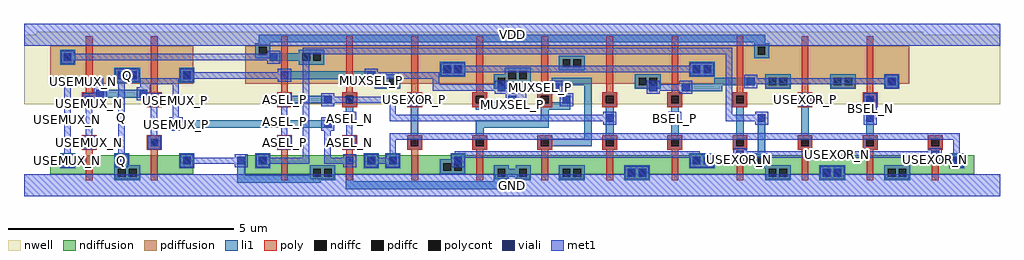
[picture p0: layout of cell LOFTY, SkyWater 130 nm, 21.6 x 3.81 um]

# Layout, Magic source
magic
# Generated by librecell
tech sky130A
<< nwell >>
rect 0 179 2160 333
rect 27 333 1990 340
<< viali >>
rect 1336 19 1353 36
rect 1360 19 1377 36
rect 1768 19 1785 36
rect 1792 19 1809 36
rect 88 46 105 63
rect 208 46 225 63
rect 352 46 369 63
rect 472 46 489 63
rect 520 46 537 63
rect 712 46 729 63
rect 760 46 777 63
rect 808 46 825 63
rect 952 46 969 63
rect 1480 46 1497 63
rect 1504 46 1521 63
rect 2056 46 2073 63
rect 1576 59 1593 76
rect 2008 59 2025 76
rect 136 86 153 103
rect 280 86 297 103
rect 568 86 585 103
rect 712 86 729 103
rect 328 127 345 144
rect 664 127 681 144
rect 712 140 729 157
rect 1288 140 1305 157
rect 1432 140 1449 157
rect 1624 140 1641 157
rect 1864 140 1881 157
rect 136 181 153 198
rect 280 181 297 198
rect 568 181 585 198
rect 664 181 681 198
rect 856 181 873 198
rect 1072 181 1089 198
rect 1192 181 1209 198
rect 1720 181 1737 198
rect 1864 181 1881 198
rect 160 194 177 211
rect 256 194 273 211
rect 1048 208 1065 225
rect 1168 208 1185 225
rect 1384 208 1401 225
rect 1456 208 1473 225
rect 1600 221 1617 238
rect 1912 221 1929 238
rect 208 235 225 252
rect 232 235 249 252
rect 352 235 369 252
rect 568 235 585 252
rect 760 235 777 252
rect 928 248 945 265
rect 952 248 969 265
rect 1480 248 1497 265
rect 1504 248 1521 265
rect 88 275 105 292
rect 544 275 561 292
<< poly >>
rect 137 11 152 78
rect 128 78 161 111
rect 281 11 296 78
rect 272 78 305 111
rect 569 11 584 78
rect 560 78 593 111
rect 713 11 728 78
rect 704 78 737 111
rect 857 11 872 78
rect 848 78 881 111
rect 1001 11 1016 78
rect 992 78 1025 111
rect 1145 11 1160 78
rect 1136 78 1169 111
rect 1289 11 1304 78
rect 1280 78 1313 111
rect 1433 11 1448 78
rect 1424 78 1457 111
rect 1577 11 1592 78
rect 1568 78 1601 111
rect 1721 11 1736 78
rect 1712 78 1745 111
rect 1865 11 1880 78
rect 1856 78 1889 111
rect 2009 11 2024 78
rect 2000 78 2033 111
rect 128 173 161 206
rect 137 206 152 330
rect 272 173 305 206
rect 281 206 296 330
rect 560 173 593 206
rect 569 206 584 330
rect 704 173 737 206
rect 713 206 728 330
rect 848 173 881 206
rect 857 206 872 330
rect 992 173 1025 206
rect 1001 206 1016 330
rect 1136 173 1169 206
rect 1145 206 1160 330
rect 1280 173 1313 206
rect 1289 206 1304 330
rect 1424 173 1457 206
rect 1433 206 1448 330
rect 1568 173 1601 206
rect 1577 206 1592 330
rect 1712 173 1745 206
rect 1721 206 1736 330
rect 1856 173 1889 206
rect 1865 206 1880 330
<< properties >>
string FIXED_BBOX 0 0 2160 333
<< li1 >>
rect 1184 11 1241 44
rect 1328 11 1385 44
rect 1760 11 1817 44
rect 1904 11 1961 44
rect 472 5 657 11
rect 472 11 689 22
rect 632 22 689 44
rect 472 22 489 63
rect 712 -9 1065 9
rect 1040 9 1065 11
rect 1040 11 1073 19
rect 1088 11 1121 19
rect 1040 19 1121 36
rect 1040 36 1073 44
rect 1088 36 1121 44
rect 712 9 729 63
rect 80 38 113 71
rect 200 11 257 44
rect 200 44 233 71
rect 344 38 377 71
rect 512 38 545 71
rect 752 38 785 71
rect 800 38 833 71
rect 920 24 977 57
rect 944 57 977 71
rect 1472 38 1529 71
rect 2048 38 2081 71
rect 128 78 161 111
rect 272 78 305 111
rect 560 78 593 111
rect 704 78 737 111
rect 2008 59 2025 78
rect 2000 78 2033 111
rect 328 127 681 144
rect 1640 11 1697 38
rect 1616 38 1697 44
rect 1616 44 1649 71
rect 1624 71 1641 157
rect 1856 78 1889 111
rect 1864 111 1881 157
rect 560 173 593 181
rect 560 181 681 198
rect 560 198 593 206
rect 712 140 729 173
rect 704 173 737 206
rect 848 78 881 111
rect 856 111 873 173
rect 848 173 881 206
rect 1000 167 1089 173
rect 992 173 1089 184
rect 1072 184 1089 198
rect 992 184 1025 206
rect 992 78 1025 111
rect 1000 111 1017 127
rect 1000 127 1161 144
rect 1144 144 1161 167
rect 1144 167 1209 173
rect 1136 173 1209 184
rect 1192 184 1209 198
rect 1136 184 1169 206
rect 1280 78 1313 111
rect 1288 111 1305 173
rect 1280 173 1313 206
rect 1424 78 1457 111
rect 1432 111 1449 173
rect 1424 173 1457 206
rect 1576 59 1593 78
rect 1568 78 1601 111
rect 1576 111 1593 173
rect 1568 173 1601 206
rect 1712 78 1745 111
rect 1720 111 1737 173
rect 1712 173 1745 206
rect 1856 173 1889 206
rect 128 173 161 194
rect 272 173 305 194
rect 128 194 305 206
rect 160 206 273 211
rect 1136 78 1169 86
rect 1136 86 1257 103
rect 1136 103 1169 111
rect 1168 208 1185 221
rect 1240 103 1257 221
rect 1168 221 1257 238
rect 1456 208 1545 221
rect 1456 221 1617 225
rect 1528 225 1617 238
rect 1384 208 1401 213
rect 1352 213 1409 246
rect 1640 213 1697 246
rect 1784 213 1841 246
rect 1904 213 1937 246
rect 776 213 833 235
rect 568 235 833 246
rect 568 246 777 252
rect 200 227 257 260
rect 344 227 377 260
rect 1048 208 1065 213
rect 1040 213 1073 227
rect 1040 227 1121 246
rect 1064 246 1121 260
rect 920 240 977 273
rect 1472 240 1529 273
rect 1184 254 1241 287
rect 80 267 113 300
rect 608 267 665 275
rect 544 275 665 281
rect 512 281 665 292
rect 608 292 665 300
rect 512 292 545 314
rect 1616 281 1649 314
rect 520 314 545 316
rect 1616 314 1641 316
rect 520 316 1641 333
<< met1 >>
rect 0 -24 2160 24
rect 1330 24 1383 42
rect 1762 24 1815 42
rect 346 40 375 47
rect 466 40 495 47
rect 346 47 495 61
rect 346 61 375 69
rect 466 61 495 69
rect 946 40 975 61
rect 1474 40 1527 61
rect 946 61 1527 69
rect 953 69 1495 75
rect 1570 53 1599 61
rect 2002 53 2031 61
rect 1570 61 2031 75
rect 1570 75 1599 82
rect 2002 75 2031 82
rect 754 40 783 47
rect 802 40 831 47
rect 754 47 831 61
rect 754 61 783 69
rect 802 61 831 69
rect 2050 40 2079 69
rect 809 69 823 101
rect 2057 69 2071 101
rect 809 101 2071 115
rect 706 40 735 47
rect 665 47 735 61
rect 706 61 735 69
rect 665 61 679 121
rect 658 121 687 150
rect 706 80 735 109
rect 713 109 727 134
rect 706 134 735 163
rect 1426 134 1455 163
rect 562 80 591 109
rect 569 109 583 175
rect 562 175 591 204
rect 1282 134 1311 142
rect 809 142 1311 156
rect 1282 156 1311 163
rect 658 175 687 182
rect 809 156 823 182
rect 658 182 823 196
rect 658 196 687 204
rect 850 175 879 204
rect 1714 175 1743 204
rect 1858 134 1887 204
rect 1378 202 1407 209
rect 1450 202 1479 209
rect 1378 209 1479 223
rect 1378 223 1407 231
rect 1450 223 1479 231
rect 82 40 111 69
rect 130 80 159 109
rect 137 109 151 175
rect 130 175 159 188
rect 130 188 183 204
rect 154 204 183 217
rect 89 69 103 223
rect 154 217 175 223
rect 89 223 175 237
rect 274 80 303 109
rect 322 121 351 150
rect 281 109 295 175
rect 274 175 303 188
rect 250 188 303 204
rect 250 204 279 217
rect 257 217 279 223
rect 329 150 343 223
rect 257 223 343 237
rect 1594 215 1623 223
rect 1906 215 1935 223
rect 1594 223 1935 237
rect 1594 237 1623 244
rect 1906 237 1935 244
rect 202 40 231 69
rect 209 69 223 229
rect 202 229 255 258
rect 346 229 375 236
rect 562 229 591 236
rect 346 236 591 250
rect 346 250 375 258
rect 562 250 591 258
rect 1066 175 1095 182
rect 1066 182 1111 202
rect 1186 175 1215 202
rect 1162 202 1215 204
rect 1042 202 1111 204
rect 1042 204 1071 209
rect 1097 204 1111 209
rect 1162 204 1191 209
rect 1097 209 1191 223
rect 905 209 1071 223
rect 1042 223 1071 231
rect 1162 223 1191 231
rect 754 229 783 236
rect 905 223 919 236
rect 754 236 919 250
rect 754 250 783 258
rect 922 242 975 250
rect 1474 242 1527 250
rect 922 250 1527 264
rect 922 264 975 271
rect 1474 264 1527 271
rect 82 269 111 277
rect 538 269 567 277
rect 82 277 567 291
rect 82 291 111 298
rect 538 291 567 298
rect 514 40 543 47
rect 514 47 631 61
rect 514 61 543 69
rect 1618 134 1647 142
rect 1553 142 1647 156
rect 1618 156 1647 163
rect 617 61 631 290
rect 1553 156 1567 290
rect 617 290 1567 304
rect 0 309 2160 357
<< li1 >>
<< met1 >>
<< li1 >>
<< met1 >>
rect 0 -24 2160 24
rect 1570 53 1599 61
rect 2002 53 2031 61
rect 1570 61 2031 75
rect 1570 75 1599 82
rect 2002 75 2031 82
rect 706 80 735 109
rect 713 109 727 134
rect 706 134 735 163
rect 1426 134 1455 163
rect 562 80 591 109
rect 569 109 583 175
rect 562 175 591 204
rect 1714 175 1743 204
rect 1858 134 1887 204
rect 82 40 111 69
rect 130 80 159 109
rect 137 109 151 175
rect 130 175 159 188
rect 130 188 183 204
rect 154 204 183 217
rect 89 69 103 223
rect 154 217 175 223
rect 89 223 175 237
rect 274 80 303 109
rect 322 121 351 150
rect 281 109 295 175
rect 274 175 303 188
rect 250 188 303 204
rect 250 204 279 217
rect 257 217 279 223
rect 329 150 343 223
rect 257 223 343 237
rect 202 40 231 69
rect 209 69 223 229
rect 202 229 255 258
rect 1066 175 1095 182
rect 1066 182 1111 202
rect 1186 175 1215 202
rect 1162 202 1215 204
rect 1042 202 1111 204
rect 1042 204 1071 209
rect 1097 204 1111 209
rect 1162 204 1191 209
rect 1097 209 1191 223
rect 905 209 1071 223
rect 1042 223 1071 231
rect 1162 223 1191 231
rect 754 229 783 236
rect 905 223 919 236
rect 754 236 919 250
rect 754 250 783 258
rect 0 309 2160 357
<< ndiffusion >>
rect 202 13 255 24
rect 58 24 375 66
rect 82 66 111 69
rect 202 66 231 69
rect 346 66 375 69
rect 634 13 687 24
rect 1042 13 1071 24
rect 1090 13 1119 24
rect 1186 13 1239 24
rect 1330 13 1383 24
rect 1642 13 1695 24
rect 1762 13 1815 24
rect 1906 13 1959 24
rect 490 24 2103 66
rect 514 66 543 69
rect 754 66 783 69
rect 802 66 831 69
rect 946 66 975 69
rect 1474 66 1527 69
rect 1618 66 1647 69
rect 2050 66 2079 69
<< pdiffusion >>
rect 58 225 375 309
rect 778 215 831 225
rect 1042 215 1071 225
rect 1354 215 1407 225
rect 1642 215 1695 225
rect 1786 215 1839 225
rect 1906 215 1935 225
rect 490 225 1959 309
rect 514 309 543 312
rect 1618 309 1647 312
<< polycont >>
rect 136 86 153 103
rect 280 86 297 103
rect 568 86 585 103
rect 712 86 729 103
rect 856 86 873 103
rect 1000 86 1017 103
rect 1144 86 1161 103
rect 1288 86 1305 103
rect 1432 86 1449 103
rect 1576 86 1593 103
rect 1720 86 1737 103
rect 1864 86 1881 103
rect 2008 86 2025 103
rect 136 181 153 198
rect 280 181 297 198
rect 568 181 585 198
rect 712 181 729 198
rect 856 181 873 198
rect 1000 181 1017 198
rect 1144 181 1161 198
rect 1288 181 1305 198
rect 1432 181 1449 198
rect 1576 181 1593 198
rect 1720 181 1737 198
rect 1864 181 1881 198
<< pdiffc >>
rect 784 221 801 238
rect 808 221 825 238
rect 1048 221 1065 238
rect 1360 221 1377 238
rect 1384 221 1401 238
rect 1648 221 1665 238
rect 1672 221 1689 238
rect 1792 221 1809 238
rect 1816 221 1833 238
rect 1912 221 1929 238
rect 208 235 225 252
rect 232 235 249 252
rect 352 235 369 252
rect 1072 235 1089 252
rect 1096 235 1113 252
rect 928 248 945 265
rect 952 248 969 265
rect 1480 248 1497 265
rect 1504 248 1521 265
rect 1192 262 1209 279
rect 1216 262 1233 279
rect 88 275 105 292
rect 616 275 633 292
rect 640 275 657 292
rect 520 289 537 306
rect 1624 289 1641 306
<< ndiffc >>
rect 208 19 225 36
rect 232 19 249 36
rect 640 19 657 36
rect 664 19 681 36
rect 1048 19 1065 36
rect 1096 19 1113 36
rect 1192 19 1209 36
rect 1216 19 1233 36
rect 1336 19 1353 36
rect 1360 19 1377 36
rect 1648 19 1665 36
rect 1672 19 1689 36
rect 1768 19 1785 36
rect 1792 19 1809 36
rect 1912 19 1929 36
rect 1936 19 1953 36
rect 928 32 945 49
rect 88 46 105 63
rect 208 46 225 63
rect 352 46 369 63
rect 520 46 537 63
rect 760 46 777 63
rect 808 46 825 63
rect 952 32 969 63
rect 1480 46 1497 63
rect 1504 46 1521 63
rect 1624 46 1641 63
rect 2056 46 2073 63
<< nplus >>
<< pplus >>
<< labels >>
rlabel met1 0 309 2160 357 0 VDD
port 1 se
rlabel met1 0 -24 2160 24 0 GND
port 2 se
rlabel met1 202 40 231 69 0 Q
port 3 se
rlabel met1 209 69 223 229 0 Q
port 4 se
rlabel met1 202 229 255 258 0 Q
port 5 se
rlabel met1 562 80 591 109 0 ASEL_P
port 6 se
rlabel met1 569 109 583 175 0 ASEL_P
port 7 se
rlabel met1 562 175 591 204 0 ASEL_P
port 8 se
rlabel met1 1570 53 1599 61 0 USEXOR_N
port 9 se
rlabel met1 2002 53 2031 61 0 USEXOR_N
port 10 se
rlabel met1 1570 61 2031 75 0 USEXOR_N
port 11 se
rlabel met1 1570 75 1599 82 0 USEXOR_N
port 12 se
rlabel met1 2002 75 2031 82 0 USEXOR_N
port 13 se
rlabel met1 82 40 111 69 0 USEMUX_N
port 14 se
rlabel met1 130 80 159 109 0 USEMUX_N
port 15 se
rlabel met1 137 109 151 175 0 USEMUX_N
port 16 se
rlabel met1 130 175 159 188 0 USEMUX_N
port 17 se
rlabel met1 130 188 183 204 0 USEMUX_N
port 18 se
rlabel met1 154 204 183 217 0 USEMUX_N
port 19 se
rlabel met1 89 69 103 223 0 USEMUX_N
port 20 se
rlabel met1 154 217 175 223 0 USEMUX_N
port 21 se
rlabel met1 89 223 175 237 0 USEMUX_N
port 22 se
rlabel met1 850 175 879 204 0 USEXOR_P
port 23 se
rlabel met1 1714 175 1743 204 0 USEXOR_P
port 24 se
rlabel met1 706 80 735 109 0 ASEL_N
port 25 se
rlabel met1 713 109 727 134 0 ASEL_N
port 26 se
rlabel met1 706 134 735 163 0 ASEL_N
port 27 se
rlabel met1 1858 134 1887 204 0 BSEL_N
port 28 se
rlabel met1 1426 134 1455 163 0 BSEL_P
port 29 se
rlabel met1 1066 175 1095 182 0 MUXSEL_P
port 30 se
rlabel met1 1066 182 1111 202 0 MUXSEL_P
port 31 se
rlabel met1 1186 175 1215 202 0 MUXSEL_P
port 32 se
rlabel met1 1162 202 1215 204 0 MUXSEL_P
port 33 se
rlabel met1 1042 202 1111 204 0 MUXSEL_P
port 34 se
rlabel met1 1042 204 1071 209 0 MUXSEL_P
port 35 se
rlabel met1 1097 204 1111 209 0 MUXSEL_P
port 36 se
rlabel met1 1162 204 1191 209 0 MUXSEL_P
port 37 se
rlabel met1 1097 209 1191 223 0 MUXSEL_P
port 38 se
rlabel met1 905 209 1071 223 0 MUXSEL_P
port 39 se
rlabel met1 1042 223 1071 231 0 MUXSEL_P
port 40 se
rlabel met1 1162 223 1191 231 0 MUXSEL_P
port 41 se
rlabel met1 754 229 783 236 0 MUXSEL_P
port 42 se
rlabel met1 905 223 919 236 0 MUXSEL_P
port 43 se
rlabel met1 754 236 919 250 0 MUXSEL_P
port 44 se
rlabel met1 754 250 783 258 0 MUXSEL_P
port 45 se
rlabel met1 274 80 303 109 0 USEMUX_P
port 46 se
rlabel met1 322 121 351 150 0 USEMUX_P
port 47 se
rlabel met1 281 109 295 175 0 USEMUX_P
port 48 se
rlabel met1 274 175 303 188 0 USEMUX_P
port 49 se
rlabel met1 250 188 303 204 0 USEMUX_P
port 50 se
rlabel met1 250 204 279 217 0 USEMUX_P
port 51 se
rlabel met1 257 217 279 223 0 USEMUX_P
port 52 se
rlabel met1 329 150 343 223 0 USEMUX_P
port 53 se
rlabel met1 257 223 343 237 0 USEMUX_P
port 54 se
rlabel met1 1066 175 1095 182 0 MUXSEL_N
port 55 se
rlabel met1 1066 182 1111 202 0 MUXSEL_N
port 56 se
rlabel met1 1186 175 1215 202 0 MUXSEL_N
port 57 se
rlabel met1 1162 202 1215 204 0 MUXSEL_N
port 58 se
rlabel met1 1042 202 1111 204 0 MUXSEL_N
port 59 se
rlabel met1 1042 204 1071 209 0 MUXSEL_N
port 60 se
rlabel met1 1097 204 1111 209 0 MUXSEL_N
port 61 se
rlabel met1 1162 204 1191 209 0 MUXSEL_N
port 62 se
rlabel met1 1097 209 1191 223 0 MUXSEL_N
port 63 se
rlabel met1 905 209 1071 223 0 MUXSEL_N
port 64 se
rlabel met1 1042 223 1071 231 0 MUXSEL_N
port 65 se
rlabel met1 1162 223 1191 231 0 MUXSEL_N
port 66 se
rlabel met1 754 229 783 236 0 MUXSEL_N
port 67 se
rlabel met1 905 223 919 236 0 MUXSEL_N
port 68 se
rlabel met1 754 236 919 250 0 MUXSEL_N
port 69 se
rlabel met1 754 250 783 258 0 MUXSEL_N
port 70 se
<< end >>
